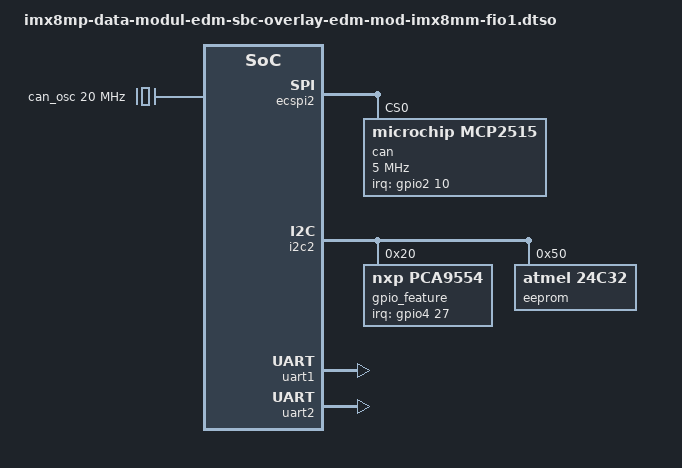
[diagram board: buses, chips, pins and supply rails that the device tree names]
// SPDX-License-Identifier: (GPL-2.0+ OR MIT)
/*
 * Copyright 2022-2026 Marek Vasut
 */
/dts-v1/;
/plugin/;

#include <dt-bindings/gpio/gpio.h>
#include <dt-bindings/interrupt-controller/arm-gic.h>

#include "imx8mp-pinfunc.h"

&{/} {
	can_osc: can-osc {
		compatible = "fixed-clock";
		#clock-cells = <0>;
		clock-frequency = <20000000>;
	};
};

&ecspi2 {
	#address-cells = <1>;
	#size-cells = <0>;
	status = "okay";

	can@0 {
		compatible = "microchip,mcp2515";
		reg = <0>;
		pinctrl-names = "default";
		pinctrl-0 = <&pinctrl_can>;
		clocks = <&can_osc>;
		interrupts-extended = <&gpio2 10 IRQ_TYPE_LEVEL_LOW>;
		spi-max-frequency = <5000000>;
	};
};

&i2c2 {	/* Feature connector I2C */
	#address-cells = <1>;
	#size-cells = <0>;

	gpio_feature: io-expander@20 {
		compatible = "nxp,pca9554";
		pinctrl-names = "default";
		pinctrl-0 = <&pinctrl_gpio_expander>;
		reg = <0x20>;
		#gpio-cells = <2>;
		gpio-controller;
		#interrupt-cells = <2>;
		interrupt-controller;
		interrupt-parent = <&gpio4>;
		interrupts = <27 IRQ_TYPE_LEVEL_LOW>;
		gpio-line-names =
			"GPIO1_output", "GPIO1_input",
			"GPIO2_output", "GPIO2_input",
			"GPIO3_output", "GPIO3_input",
			"PCA9511A_READY", "";
	};

	eeprom@50 {
		compatible = "atmel,24c32";
		reg = <0x50>;
		pagesize = <32>;
	};
};

&iomuxc {
	pinctrl_can: can-feature-grp {
		fsl,pins = <
			/* CAN_INT# */
			MX8MP_IOMUXC_SD1_RESET_B__GPIO2_IO10		0x400000d6
		>;
	};

	pinctrl_gpio_expander: gpio-expander-feature-grp {
		fsl,pins = <
			/* GPIO4_IO27 */
			MX8MP_IOMUXC_SAI2_MCLK__GPIO4_IO27		0x6
		>;
	};
};

&pinctrl_sai2 {
	fsl,pins = <
		MX8MP_IOMUXC_SAI2_TXFS__AUDIOMIX_SAI2_TX_SYNC	0xd6
		MX8MP_IOMUXC_SAI2_TXD0__AUDIOMIX_SAI2_TX_DATA00	0xd6
		MX8MP_IOMUXC_SAI2_TXC__AUDIOMIX_SAI2_TX_BCLK	0xd6
	>;
};

&pinctrl_hog_feature {
	fsl,pins = <
		/* GPIO5_IO03 */
		MX8MP_IOMUXC_GPIO1_IO07__GPIO1_IO07		0x40000006
		/* GPIO5_IO04 */
		MX8MP_IOMUXC_GPIO1_IO08__GPIO1_IO08		0x40000006
	>;
};

&uart1 {	/* J500/J501 */
	status = "okay";
};

&uart2 {	/* RS485 J302/J303 */
	linux,rs485-enabled-at-boot-time;
	uart-has-rtscts;
	status = "okay";
};
